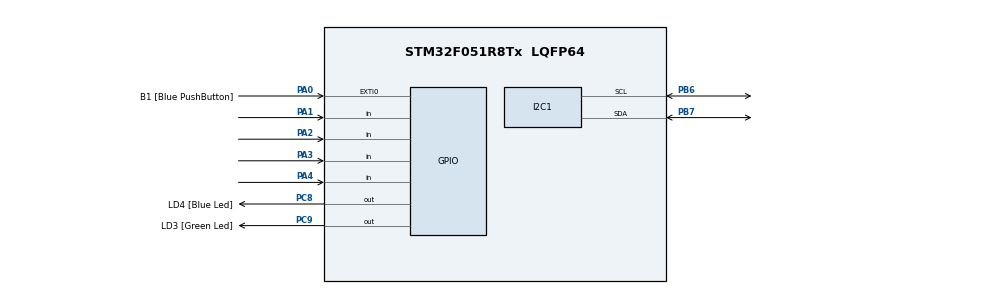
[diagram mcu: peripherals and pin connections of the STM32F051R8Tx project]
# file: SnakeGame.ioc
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Mcu.Family=STM32F0
PC9.GPIO_Label=LD3 [Green Led]
PA14.GPIO_Label=SWCLK
PA0.GPIO_Label=B1 [Blue PushButton]
PC8.Signal=GPIO_Output
RCC.SYSCLKSource=RCC_SYSCLKSOURCE_PLLCLK
ProjectManager.StackSize=0x400
PC8.GPIO_Label=LD4 [Blue Led]
PA13.Signal=SYS_SWDIO
ProjectManager.TargetToolchain=SW4STM32
RCC.HCLKFreq_Value=48000000
PB6.Signal=I2C1_SCL
PB6.Mode=I2C
PA1.Signal=GPIO_Input
RCC.AHBFreq_Value=48000000
board=STM32F0DISCOVERY
RCC.PLLMUL=RCC_PLL_MUL12
PA14.Mode=Serial_Wire
PA0.GPIO_ModeDefaultEXTI=GPIO_MODE_EVT_RISING
PB7.Signal=I2C1_SDA
PA13.Mode=Serial_Wire
Mcu.Name=STM32F051R8Tx
PA2.Signal=GPIO_Input
PA13.GPIO_Label=SWDIO
PA0.Signal=GPXTI0
PA4.Signal=GPIO_Input
RCC.SYSCLKFreq_VALUE=48000000
Mcu.Package=LQFP64
PB7.Mode=I2C
PA14.Signal=SYS_SWCLK
ProjectManager.HeapSize=0x200
RCC.APB1TimFreq_Value=48000000
PC9.Signal=GPIO_Output
RCC.APB1Freq_Value=48000000
PA3.Signal=GPIO_Input

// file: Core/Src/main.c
/* USER CODE BEGIN Header */
/**
  ******************************************************************************
  * @file           : main.c
  * @brief          : Main program body
  ******************************************************************************
  * @attention
  *
  * <h2><center>&copy; Copyright (c) 2020 STMicroelectronics.
  * All rights reserved.</center></h2>
  *
  * This software component is licensed by ST under BSD 3-Clause license,
  * the "License"; You may not use this file except in compliance with the
  * License. You may obtain a copy of the License at:
  *                        opensource.org/licenses/BSD-3-Clause
  *
  ******************************************************************************
  */
/* USER CODE END Header */
#include "main.h"

/* USER CODE BEGIN PV */
int is_snake_alive = 1;
/* USER CODE END PV */

void SystemClock_Config(void);
static void MX_GPIO_Init(void);
static void MX_I2C1_Init(void);

/* USER CODE BEGIN 0 */

int is_pressed(GPIO_TypeDef* GPIOx, uint32_t PinMask) {

    if (LL_GPIO_IsInputPinSet(GPIOx, PinMask)) {
        LL_mDelay(10);
        return LL_GPIO_IsInputPinSet(GPIOx, PinMask);
    }
    return 0;
}

/* USER CODE END 0 */

int main(void)
{

  /* MCU Configuration--------------------------------------------------------*/

  /* Reset of all peripherals, Initializes the Flash interface and the Systick. */

  LL_APB1_GRP2_EnableClock(LL_APB1_GRP2_PERIPH_SYSCFG);
  LL_APB1_GRP1_EnableClock(LL_APB1_GRP1_PERIPH_PWR);

  /* System interrupt init*/

  /* Configure the system clock */
  SystemClock_Config();

  /* Initialize all configured peripherals */
  MX_GPIO_Init();
  MX_I2C1_Init();
  /* USER CODE BEGIN 2 */
  oled_config();
  xdev_out(oled_putc);
  /* USER CODE END 2 */

  /* Infinite loop */
  /* USER CODE BEGIN WHILE */
  Direction_xt global_dir = UP;

  PointPool_xt p_pull;
  p_pull.size = 1;

  xprintf("SNAKE GAME");

  oled_update();

  LL_mDelay(100);

  Snake_xt snake;
  snake.queue[0] = *newPoint(&p_pull, 64, 32);
  snake.queue[1] = *newPoint(&p_pull, 64, 31);
  snake.queue[2] = *newPoint(&p_pull, 64, 30);
  snake.queue[3] = *newPoint(&p_pull, 64, 29);
  snake.queue[4] = *newPoint(&p_pull, 64, 28);
  snake.queue_size = 5;

  generate_food(&snake);

  snake.direction = UP;
  move_forward(&snake, newPoint(&p_pull, 0, 0));
  oled_update();
  while (is_snake_alive)
  {
    /* USER CODE END WHILE */
      if (is_pressed(GPIOA, LL_GPIO_PIN_1)) {
          global_dir = UP;
      } else if (is_pressed(GPIOA, LL_GPIO_PIN_2)) {
          global_dir = RIGHT;
      } else if (is_pressed(GPIOA, LL_GPIO_PIN_3)) {
          global_dir = LEFT;
      } else if (is_pressed(GPIOA, LL_GPIO_PIN_4)) {
          global_dir = DOWN;
      }
      change_direction(&snake, global_dir);

      LL_mDelay(100);

      move_forward(&snake, newPoint(&p_pull, 0, 0));
      oled_update();
  }
}

void SystemClock_Config(void)
{
  LL_FLASH_SetLatency(LL_FLASH_LATENCY_1);
  while(LL_FLASH_GetLatency() != LL_FLASH_LATENCY_1)
  {
  }
  LL_RCC_HSI_Enable();

   /* Wait till HSI is ready */
  while(LL_RCC_HSI_IsReady() != 1)
  {

  }
  LL_RCC_HSI_SetCalibTrimming(16);
  LL_RCC_PLL_ConfigDomain_SYS(LL_RCC_PLLSOURCE_HSI_DIV_2, LL_RCC_PLL_MUL_12);
  LL_RCC_PLL_Enable();

   /* Wait till PLL is ready */
  while(LL_RCC_PLL_IsReady() != 1)
  {

  }
  LL_RCC_SetAHBPrescaler(LL_RCC_SYSCLK_DIV_1);
  LL_RCC_SetAPB1Prescaler(LL_RCC_APB1_DIV_1);
  LL_RCC_SetSysClkSource(LL_RCC_SYS_CLKSOURCE_PLL);

   /* Wait till System clock is ready */
  while(LL_RCC_GetSysClkSource() != LL_RCC_SYS_CLKSOURCE_STATUS_PLL)
  {

  }
  LL_Init1msTick(48000000);
  LL_SetSystemCoreClock(48000000);
  LL_RCC_SetI2CClockSource(LL_RCC_I2C1_CLKSOURCE_HSI);
}

static void MX_I2C1_Init(void)
{

  LL_I2C_InitTypeDef I2C_InitStruct = {0};

  LL_GPIO_InitTypeDef GPIO_InitStruct = {0};

  LL_AHB1_GRP1_EnableClock(LL_AHB1_GRP1_PERIPH_GPIOB);
  /**I2C1 GPIO Configuration
  PB6   ------> I2C1_SCL
  PB7   ------> I2C1_SDA
  */
  GPIO_InitStruct.Pin = LL_GPIO_PIN_6;
  GPIO_InitStruct.Mode = LL_GPIO_MODE_ALTERNATE;
  GPIO_InitStruct.Speed = LL_GPIO_SPEED_FREQ_HIGH;
  GPIO_InitStruct.OutputType = LL_GPIO_OUTPUT_OPENDRAIN;
  GPIO_InitStruct.Pull = LL_GPIO_PULL_UP;
  GPIO_InitStruct.Alternate = LL_GPIO_AF_1;
  LL_GPIO_Init(GPIOB, &GPIO_InitStruct);

  GPIO_InitStruct.Pin = LL_GPIO_PIN_7;
  GPIO_InitStruct.Mode = LL_GPIO_MODE_ALTERNATE;
  GPIO_InitStruct.Speed = LL_GPIO_SPEED_FREQ_HIGH;
  GPIO_InitStruct.OutputType = LL_GPIO_OUTPUT_OPENDRAIN;
  GPIO_InitStruct.Pull = LL_GPIO_PULL_UP;
  GPIO_InitStruct.Alternate = LL_GPIO_AF_1;
  LL_GPIO_Init(GPIOB, &GPIO_InitStruct);

  /* Peripheral clock enable */
  LL_APB1_GRP1_EnableClock(LL_APB1_GRP1_PERIPH_I2C1);

  /** I2C Initialization
  */
  LL_I2C_DisableOwnAddress2(I2C1);
  LL_I2C_DisableGeneralCall(I2C1);
  LL_I2C_EnableClockStretching(I2C1);
  I2C_InitStruct.PeripheralMode = LL_I2C_MODE_I2C;
  I2C_InitStruct.Timing = 0x2000090E;
  I2C_InitStruct.AnalogFilter = LL_I2C_ANALOGFILTER_ENABLE;
  I2C_InitStruct.DigitalFilter = 0;
  I2C_InitStruct.OwnAddress1 = 0;
  I2C_InitStruct.TypeAcknowledge = LL_I2C_ACK;
  I2C_InitStruct.OwnAddrSize = LL_I2C_OWNADDRESS1_7BIT;
  LL_I2C_Init(I2C1, &I2C_InitStruct);
  LL_I2C_EnableAutoEndMode(I2C1);
  LL_I2C_SetOwnAddress2(I2C1, 0, LL_I2C_OWNADDRESS2_NOMASK);

}

static void MX_GPIO_Init(void)
{
  LL_EXTI_InitTypeDef EXTI_InitStruct = {0};
  LL_GPIO_InitTypeDef GPIO_InitStruct = {0};

  /* GPIO Ports Clock Enable */
  LL_AHB1_GRP1_EnableClock(LL_AHB1_GRP1_PERIPH_GPIOA);
  LL_AHB1_GRP1_EnableClock(LL_AHB1_GRP1_PERIPH_GPIOC);
  LL_AHB1_GRP1_EnableClock(LL_AHB1_GRP1_PERIPH_GPIOB);

  /**/
  LL_GPIO_ResetOutputPin(LD4_GPIO_Port, LD4_Pin);

  /**/
  LL_GPIO_ResetOutputPin(LD3_GPIO_Port, LD3_Pin);

  /**/
  LL_SYSCFG_SetEXTISource(LL_SYSCFG_EXTI_PORTA, LL_SYSCFG_EXTI_LINE0);

  /**/
  LL_GPIO_SetPinPull(B1_GPIO_Port, B1_Pin, LL_GPIO_PULL_NO);

  /**/
  LL_GPIO_SetPinMode(B1_GPIO_Port, B1_Pin, LL_GPIO_MODE_INPUT);

  /**/
  EXTI_InitStruct.Line_0_31 = LL_EXTI_LINE_0;
  EXTI_InitStruct.LineCommand = ENABLE;
  EXTI_InitStruct.Mode = LL_EXTI_MODE_EVENT;
  EXTI_InitStruct.Trigger = LL_EXTI_TRIGGER_RISING;
  LL_EXTI_Init(&EXTI_InitStruct);

  /**/
  GPIO_InitStruct.Pin = LL_GPIO_PIN_1;
  GPIO_InitStruct.Mode = LL_GPIO_MODE_INPUT;
  GPIO_InitStruct.Pull = LL_GPIO_PULL_NO;
  LL_GPIO_Init(GPIOA, &GPIO_InitStruct);

  /**/
  GPIO_InitStruct.Pin = LL_GPIO_PIN_2;
  GPIO_InitStruct.Mode = LL_GPIO_MODE_INPUT;
  GPIO_InitStruct.Pull = LL_GPIO_PULL_NO;
  LL_GPIO_Init(GPIOA, &GPIO_InitStruct);

  /**/
  GPIO_InitStruct.Pin = LL_GPIO_PIN_3;
  GPIO_InitStruct.Mode = LL_GPIO_MODE_INPUT;
  GPIO_InitStruct.Pull = LL_GPIO_PULL_NO;
  LL_GPIO_Init(GPIOA, &GPIO_InitStruct);

  /**/
  GPIO_InitStruct.Pin = LL_GPIO_PIN_4;
  GPIO_InitStruct.Mode = LL_GPIO_MODE_INPUT;
  GPIO_InitStruct.Pull = LL_GPIO_PULL_NO;
  LL_GPIO_Init(GPIOA, &GPIO_InitStruct);

  /**/
  GPIO_InitStruct.Pin = LD4_Pin;
  GPIO_InitStruct.Mode = LL_GPIO_MODE_OUTPUT;
  GPIO_InitStruct.Speed = LL_GPIO_SPEED_FREQ_LOW;
  GPIO_InitStruct.OutputType = LL_GPIO_OUTPUT_PUSHPULL;
  GPIO_InitStruct.Pull = LL_GPIO_PULL_NO;
  LL_GPIO_Init(LD4_GPIO_Port, &GPIO_InitStruct);

  /**/
  GPIO_InitStruct.Pin = LD3_Pin;
  GPIO_InitStruct.Mode = LL_GPIO_MODE_OUTPUT;
  GPIO_InitStruct.Speed = LL_GPIO_SPEED_FREQ_LOW;
  GPIO_InitStruct.OutputType = LL_GPIO_OUTPUT_PUSHPULL;
  GPIO_InitStruct.Pull = LL_GPIO_PULL_NO;
  LL_GPIO_Init(LD3_GPIO_Port, &GPIO_InitStruct);

}

void Error_Handler(void)
{
}

/************************ (C) COPYRIGHT STMicroelectronics *****END OF FILE****/
